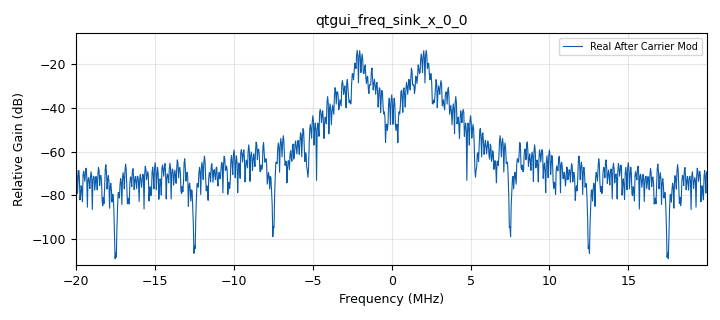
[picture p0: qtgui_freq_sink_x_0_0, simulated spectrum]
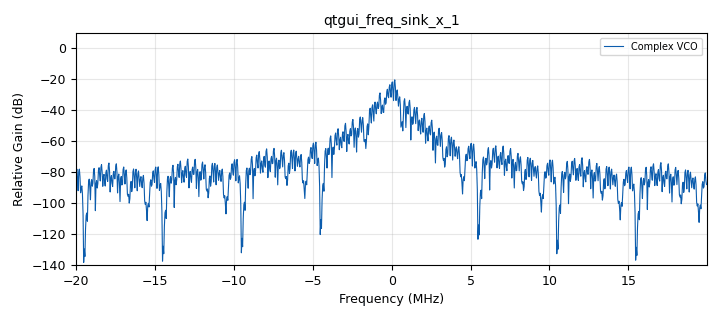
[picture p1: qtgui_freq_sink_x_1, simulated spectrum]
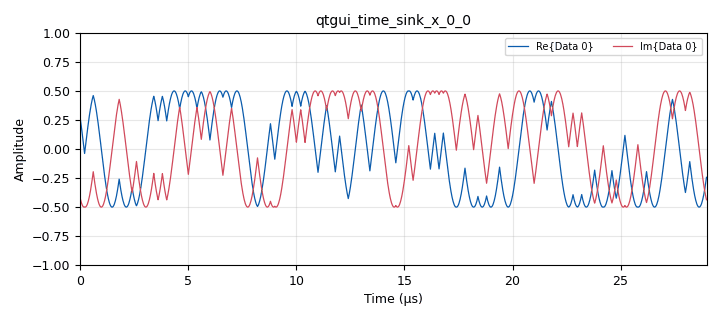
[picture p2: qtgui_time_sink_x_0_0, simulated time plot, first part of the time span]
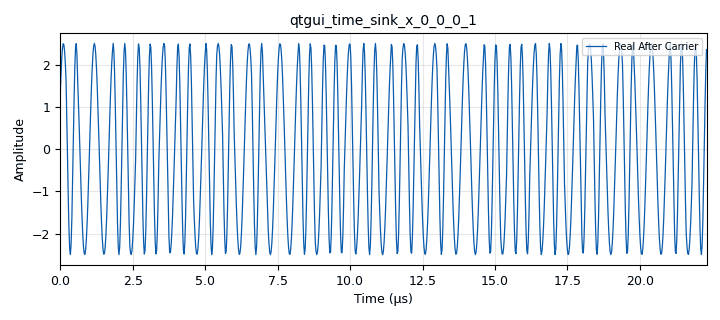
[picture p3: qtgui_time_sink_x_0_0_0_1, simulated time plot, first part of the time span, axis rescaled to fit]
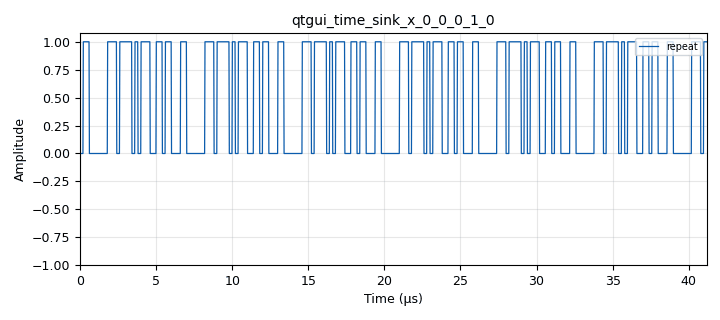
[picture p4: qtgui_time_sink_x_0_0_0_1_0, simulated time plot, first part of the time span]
options:
  parameters:
    generate_options: qt_gui
    id: FSKVCOInputMap
    output_language: python
    title: Not titled yet
  states: {}

blocks:
- name: centre_freq
  id: variable
  parameters:
    value: '0'
  states: {}
- name: samp_rate
  id: variable
  parameters:
    value: '40000000'
  states: {}
- name: variable_rrc_filter_taps_0
  id: variable_rrc_filter_taps
  parameters:
    alpha: '1'
    gain: '2'
    ntaps: '44'
    samp_rate: '4000000'
    sym_rate: '1000000'
  states: {}
- name: analog_sig_source_x_0_0
  id: analog_sig_source_x
  parameters:
    amp: '5'
    freq: '2000000'
    offset: '0'
    phase: '0'
    samp_rate: samp_rate
    type: complex
    waveform: analog.GR_COS_WAVE
  states: {}
- name: blocks_add_const_vxx_0
  id: blocks_add_const_vxx
  parameters:
    const: '-0.833'
    type: float
  states: {}
- name: blocks_complex_to_float_0
  id: blocks_complex_to_float
  parameters: {}
  states: {}
- name: blocks_multiply_const_vxx_0
  id: blocks_multiply_const_vxx
  parameters:
    const: '1.66'
    type: float
  states: {}
- name: blocks_multiply_xx_0_0
  id: blocks_multiply_xx
  parameters:
    type: complex
  states: {}
- name: blocks_null_sink_0
  id: blocks_null_sink
  parameters:
    type: float
  states: {}
- name: blocks_packed_to_unpacked_xx_0
  id: blocks_packed_to_unpacked_xx
  parameters:
    bits_per_chunk: '4'
    endianness: gr.GR_LSB_FIRST
    type: byte
  states: {}
- name: blocks_repeat_0_0
  id: blocks_repeat
  parameters:
    interp: '8'
    type: float
  states: {}
- name: blocks_throttle_0_0
  id: blocks_throttle
  parameters:
    samples_per_second: samp_rate
    type: float
  states: {}
- name: blocks_vco_c_0
  id: blocks_vco_c
  parameters:
    amplitude: '0.5'
    samp_rate: samp_rate
    sensitivity: '3768000'
  states: {}
- name: blocks_vector_source_x_1
  id: blocks_vector_source_x
  parameters:
    repeat: 'True'
    type: byte
    vector: (1,  1,1,0,0,0,0,0)
  states: {}
- name: digital_chunks_to_symbols_xx_0
  id: digital_chunks_to_symbols_xx
  parameters:
    dimension: '32'
    in_type: byte
    out_type: float
    symbol_table: '[0,1,1,0,0,0,0,0,0,1,1,1,0,1,1,1,1,0,1,0,1,1,1,0,0,1,1,0,1,1,0,0,0,1,0,0,1,1,1,0,0,0,0,0,0,1,1,1,0,1,1,1,1,0,1,0,1,1,1,0,0,1,1,0,0,1,1,0,1,1,0,0,1,1,1,0,0,0,0,0,0,1,1,1,0,1,1,1,1,0,1,0,1,1,1,0,0,1,1,0,0,1,1,0,1,1,0,0,1,1,1,0,0,0,0,0,0,1,1,1,0,1,1,1,1,0,1,0,0,0,1,0,1,1,1,0,0,1,1,0,1,1,0,0,1,1,1,0,0,0,0,0,0,1,1,1,0,1,1,1,0,1,1,1,1,0,1,0,1,1,1,0,0,1,1,0,1,1,0,0,1,1,1,0,0,0,0,0,0,1,1,1,0,1,1,1,0,1,1,1,1,0,1,0,1,1,1,0,0,1,1,0,1,1,0,0,1,1,1,0,0,0,0,0,0,0,0,0,0,1,1,1,0,1,1,1,1,0,1,0,1,1,1,0,0,1,1,0,1,1,0,0,1,1,1,0,0,0,0,1,1,1,1,1,1,0,0,0,1,0,0,0,0,1,0,1,0,0,0,1,1,0,0,1,0,0,1,1,0,0,1,1,0,0,0,1,1,1,1,1,1,0,0,0,1,0,0,0,0,1,0,1,0,0,0,1,1,0,0,1,0,0,0,1,0,0,1,1,0,0,0,1,1,1,1,1,1,0,0,0,1,0,0,0,0,1,0,1,0,0,0,1,0,0,0,1,1,0,0,1,0,0,1,1,0,0,0,1,1,1,1,1,1,0,0,0,1,0,0,0,0,1,0,1,0,1,0,1,0,0,0,1,1,0,0,1,0,0,1,1,0,0,0,1,1,1,1,1,1,0,0,0,1,0,0,0,0,0,0,0,0,1,0,1,0,0,0,1,1,0,0,1,0,0,1,1,0,0,0,1,1,1,1,1,1,0,0,0,0,0,0,0,1,0,0,0,0,1,0,1,0,0,0,1,1,0,0,1,0,0,1,1,0,0,0,1,1,1,1,1,0,1,1,1,1,0,0,0,1,0,0,0,0,1,0,1,0,0,0,1,1,0,0,1,0,0,1,1,0,0,0,1]'
  states: {}
- name: note_0
  id: note
  parameters:
    note: Real After Carrier
  states: {}
- name: note_1
  id: note
  parameters:
    note: taking each values as a byte (not bit) from input
  states: {}
- name: note_2
  id: note
  parameters:
    note: clear freq. spectrum for higher interp. value. Limit this value by samples per chip duration
  states: {}
- name: qtgui_freq_sink_x_0_0
  id: qtgui_freq_sink_x
  parameters:
    autoscale: 'True'
    average: '0.1'
    bw: samp_rate
    fc: centre_freq
    fftsize: '1024'
    label1: Real After Carrier Mod
    type: float
    wintype: firdes.WIN_BLACKMAN_hARRIS
  states: {}
- name: qtgui_freq_sink_x_1
  id: qtgui_freq_sink_x
  parameters:
    bw: samp_rate
    fc: '0'
    fftsize: '1024'
    label1: 'Complex VCO '
    type: complex
    wintype: firdes.WIN_BLACKMAN_hARRIS
  states: {}
- name: qtgui_time_sink_x_0_0
  id: qtgui_time_sink_x
  parameters:
    ctrlpanel: 'True'
    size: '10240'
    srate: samp_rate
    type: complex
  states: {}
- name: qtgui_time_sink_x_0_0_0_1
  id: qtgui_time_sink_x
  parameters:
    ctrlpanel: 'True'
    label1: Real After Carrier
    size: '10240'
    srate: samp_rate
    type: float
  states: {}
- name: qtgui_time_sink_x_0_0_0_1_0
  id: qtgui_time_sink_x
  parameters:
    ctrlpanel: 'True'
    label1: repeat
    size: '10240'
    srate: samp_rate
    type: float
  states: {}

connections:
- [analog_sig_source_x_0_0, '0', blocks_multiply_xx_0_0, '1']
- [blocks_add_const_vxx_0, '0', blocks_vco_c_0, '0']
- [blocks_complex_to_float_0, '0', qtgui_freq_sink_x_0_0, '0']
- [blocks_complex_to_float_0, '0', qtgui_time_sink_x_0_0_0_1, '0']
- [blocks_complex_to_float_0, '1', blocks_null_sink_0, '0']
- [blocks_multiply_const_vxx_0, '0', blocks_add_const_vxx_0, '0']
- [blocks_multiply_xx_0_0, '0', blocks_complex_to_float_0, '0']
- [blocks_packed_to_unpacked_xx_0, '0', digital_chunks_to_symbols_xx_0, '0']
- [blocks_repeat_0_0, '0', blocks_throttle_0_0, '0']
- [blocks_repeat_0_0, '0', qtgui_time_sink_x_0_0_0_1_0, '0']
- [blocks_throttle_0_0, '0', blocks_multiply_const_vxx_0, '0']
- [blocks_vco_c_0, '0', blocks_multiply_xx_0_0, '0']
- [blocks_vco_c_0, '0', qtgui_freq_sink_x_1, '0']
- [blocks_vco_c_0, '0', qtgui_time_sink_x_0_0, '0']
- [blocks_vector_source_x_1, '0', blocks_packed_to_unpacked_xx_0, '0']
- [digital_chunks_to_symbols_xx_0, '0', blocks_repeat_0_0, '0']

metadata:
  file_format: 1
